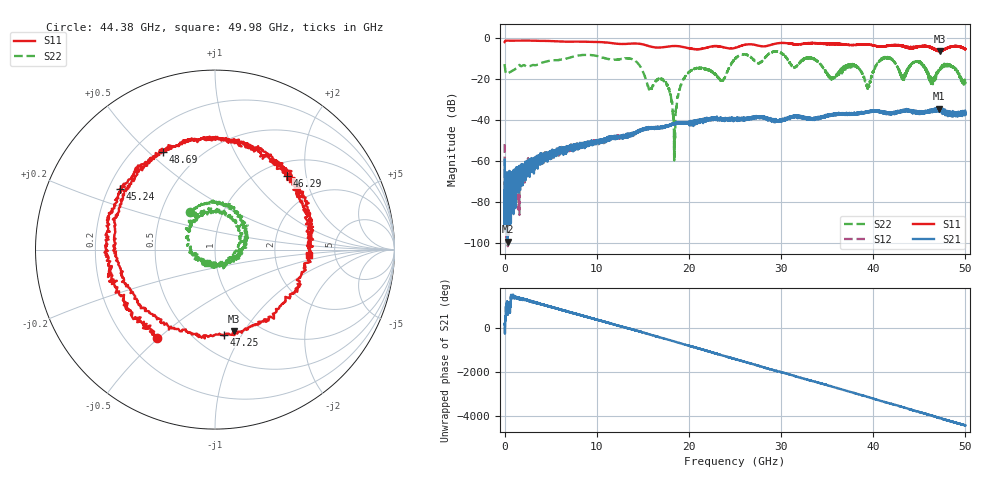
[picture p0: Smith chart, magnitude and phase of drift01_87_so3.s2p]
!Created with skrf (http://scikit-rf.org).
# Hz S RI R 50.0
!freq ReS11 ImS11 ReS21 ImS21 ReS12 ImS12 ReS22 ImS22
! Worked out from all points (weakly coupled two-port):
!   10001 points, 300 kHz to 50 GHz, reference 50 ohm
!   highest |S21| = -34.44 dB at 47.09 GHz (marker M1); lowest = -99.2 dB at 335.3 MHz (marker M2)
!   lowest |S11| = -6.6 dB at 47.21 GHz (marker M3), VSWR 2.76, Z = 38.8 - j45.2 ohm
!   |S11| at or under -10 dB: nowhere
!   |S22| runs from -59.7 to -6.7 dB; largest |S21 - S12| = 0.0037
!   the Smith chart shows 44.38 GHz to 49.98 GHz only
!   S11 on the Smith chart (normalised r, x): 44.38 GHz: 0.33, -0.49; 45.24 GHz: 0.25, +0.27; 46.29 GHz: 1.27, +1.57; 47.25 GHz: 0.69, -0.84; 48.69 GHz: 0.32, +0.56; 49.98 GHz: 3.16, -0.27
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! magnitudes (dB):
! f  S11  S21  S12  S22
! 300 kHz  -2.1  -59.3  -51.7  -12.9
! 335.3 MHz  -1.4  -99.2  -71.3  -17.4
! 8.335 GHz  -1.9  -53.3  -51.7  -8.5
! 16.67 GHz  -4.8  -43.5  -43.9  -20.0
! 17.74 GHz  -4.3  -42.9  -42.9  -24.2
! 18.45 GHz  -4.1  -42.1  -42.0  -45.1
! 19.95 GHz  -5.1  -41.3  -41.2  -17.1
! 23.61 GHz  -4.5  -39.8  -39.5  -20.8
! 25 GHz  -5.0  -39.7  -39.2  -10.3
! 33.34 GHz  -2.6  -39.4  -39.3  -10.0
! 39.44 GHz  -3.3  -35.8  -35.9  -24.0
! 41.67 GHz  -3.9  -36.4  -36.8  -10.0
! 43.19 GHz  -4.1  -36.1  -35.7  -19.7
! 44.38 GHz  -4.6  -35.5  -36.2  -12.0
! 45.24 GHz  -4.0  -36.4  -36.9  -12.8
! 46.29 GHz  -4.8  -35.0  -35.7  -21.6
! 47.09 GHz  -6.4  -34.4  -35.3  -16.4
! 47.21 GHz  -6.6  -35.4  -35.3  -15.2
! 47.25 GHz  -6.4  -35.4  -35.9  -15.6
! 48.69 GHz  -4.2  -36.6  -36.5  -14.2
! 49.98 GHz  -5.6  -36.7  -36.1  -21.5
! 50 GHz  -5.5  -37.3  -36.7  -21.8
